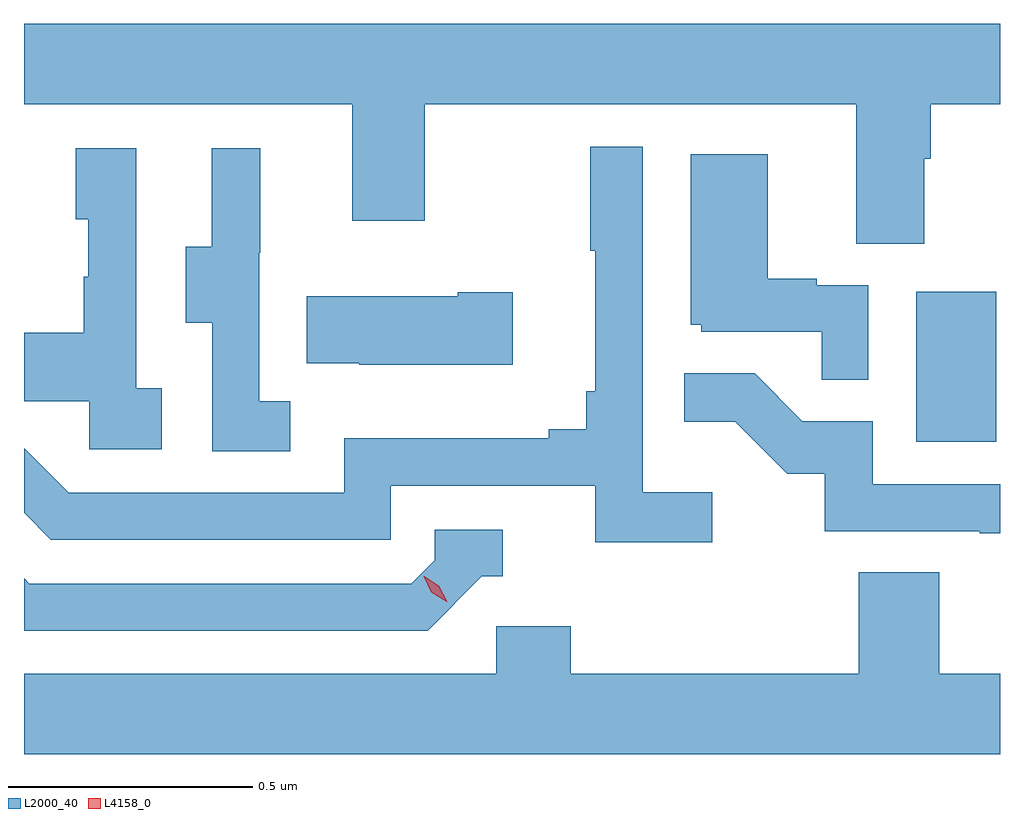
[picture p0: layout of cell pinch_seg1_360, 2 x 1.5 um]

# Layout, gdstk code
import gdstk
lib = gdstk.Library(unit=1e-6, precision=1e-09)
def R(c, l, rs):  # rectangles x0, y0, x1, y1
    for r in rs: c.add(gdstk.rectangle(r[:2], r[2:], *l))
def P(c, l, *ps):  # polygons
    for p in ps: c.add(gdstk.Polygon(p, *l))
L2000_40 = (2000, 40)
L4158_0 = (4158, 0)

pinch_seg1_360 = lib.new_cell('pinch_seg1_360')
R(pinch_seg1_360, L2000_40, [(987.65,547.044,987.814,547.351)])
P(pinch_seg1_360, L2000_40, [(987.667,547.624),(987.68,547.624),(987.68,547.736),(987.822,547.736),(987.822,547.9),(985.822,547.9),(985.822,547.736),(986.495,547.736),(986.495,547.497),(986.643,547.497),(986.643,547.736),(987.527,547.736),(987.527,547.45),(987.667,547.45)],
  [(987.232,546.94),(987.09,546.94),(987.09,547.648),(986.982,547.648),(986.982,547.435),(986.993,547.435),(986.993,547.147),(986.974,547.147),(986.974,547.07),(986.897,547.07),(986.897,547.051),(986.478,547.051),(986.478,546.939),(985.914,546.939),(985.822,547.031),(985.822,546.898),(985.877,546.843),(986.574,546.843),(986.574,546.954),(986.993,546.954),(986.993,546.838),(987.232,546.838)],
  [(986.368,547.127),(986.304,547.127),(986.304,547.431),(986.306,547.431),(986.306,547.645),(986.207,547.645),(986.207,547.443),(986.153,547.443),(986.153,547.288),(986.208,547.288),(986.208,547.024),(986.368,547.024)],
  [(986.104,547.154),(986.052,547.154),(986.052,547.645),(985.928,547.645),(985.928,547.5),(985.954,547.5),(985.954,547.382),(985.944,547.382),(985.944,547.267),(985.822,547.267),(985.822,547.127),(985.956,547.127),(985.956,547.029),(986.104,547.029)],
  [(987.552,547.365),(987.446,547.365),(987.446,547.378),(987.346,547.378),(987.346,547.633),(987.188,547.633),(987.188,547.284),(987.21,547.284),(987.21,547.269),(987.457,547.269),(987.457,547.171),(987.552,547.171)],
  [(986.824,547.35),(986.711,547.35),(986.711,547.342),(986.401,547.342),(986.401,547.205),(986.509,547.205),(986.509,547.202),(986.824,547.202)],
  [(987.822,546.957),(987.561,546.957),(987.561,547.086),(987.417,547.086),(987.319,547.184),(987.175,547.184),(987.175,547.085),(987.279,547.085),(987.386,546.978),(987.463,546.978),(987.463,546.861),(987.781,546.861),(987.781,546.856),(987.822,546.856)],
  [(986.76,546.768),(986.803,546.768),(986.803,546.864),(986.664,546.864),(986.664,546.801),(986.616,546.753),(985.833,546.753),(985.822,546.764),(985.822,546.657),(986.649,546.657)],
  [(987.822,546.568),(987.698,546.568),(987.698,546.776),(987.533,546.776),(987.533,546.568),(986.942,546.568),(986.942,546.666),(986.79,546.666),(986.79,546.568),(985.822,546.568),(985.822,546.404),(987.822,546.404)])
P(pinch_seg1_360, L4158_0, [(986.688,546.716),(986.657,546.735),(986.641,546.768),(986.641,546.768),(986.642,546.768),(986.672,546.749),(986.689,546.716),(986.689,546.716)])

lib.write_gds('pinch_seg1_360.gds')
